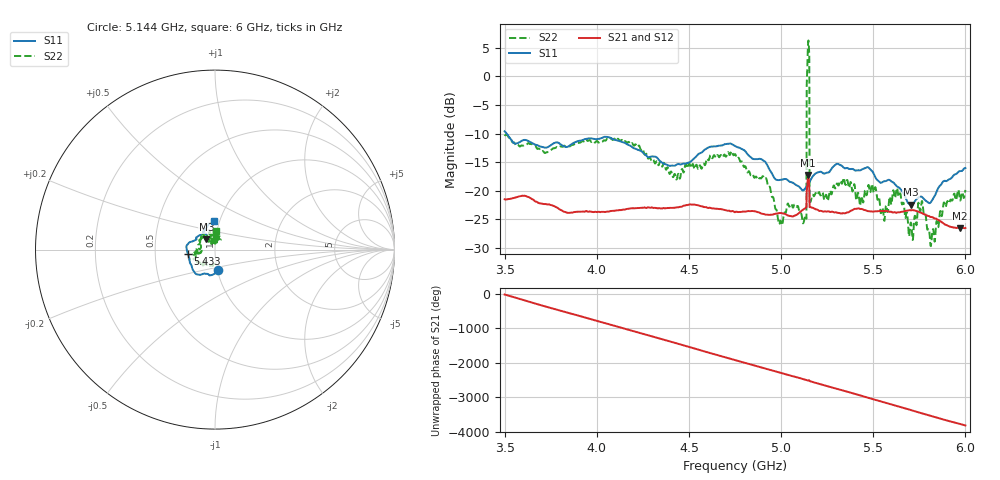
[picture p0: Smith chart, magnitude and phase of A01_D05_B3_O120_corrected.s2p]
! Created with skrf 1.9.0 (http://scikit-rf.org).
# Hz S RI R 50.0
!freq ReS11 ImS11 ReS21 ImS21 ReS12 ImS12 ReS22 ImS22
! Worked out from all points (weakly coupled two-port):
!   1601 points, 3.5 GHz to 6 GHz, reference 50 ohm
!   highest |S21| = -17.22 dB at 5.147 GHz (marker M1); lowest = -26.5 dB at 5.972 GHz (marker M2)
!   lowest |S11| = -22.4 dB at 5.705 GHz (marker M3), VSWR 1.16, Z = 45.1 + j5.3 ohm
!   |S11| at or under -10 dB: 3.511 GHz to end of sweep
!   |S22| runs from -29.7 to 6.3 dB; largest |S21 - S12| = 0.0013
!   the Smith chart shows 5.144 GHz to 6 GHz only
!   S11 on the Smith chart (normalised r, x): 5.144 GHz: 1.01, -0.23; 5.433 GHz: 0.74, -0.04; 6 GHz: 0.94, +0.30
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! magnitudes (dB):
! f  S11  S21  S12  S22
! 3.5 GHz  -9.6  -21.5  -21.5  -10.2
! 3.917 GHz  -11.2  -23.6  -23.6  -11.4
! 4.334 GHz  -14.5  -23.0  -23.0  -15.5
! 4.441 GHz  -15.3  -22.9  -22.9  -17.1
! 4.75 GHz  -12.2  -23.7  -23.7  -13.6
! 4.912 GHz  -14.9  -24.1  -24.1  -17.9
! 4.995 GHz  -18.1  -23.9  -23.8  -25.3
! 5.045 GHz  -18.4  -24.4  -24.4  -22.8
! 5.125 GHz  -19.8  -23.2  -23.2  -25.2
! 5.144 GHz  -19.0  -18.3  -18.2  3.4
! 5.147 GHz  -18.9  -17.2  -17.3  6.0
! 5.152 GHz  -18.6  -18.6  -18.6  4.9
! 5.167 GHz  -17.7  -22.9  -22.9  -21.0
! 5.331 GHz  -15.7  -24.0  -23.9  -18.7
! 5.433 GHz  -16.4  -23.2  -23.2  -21.6
! 5.584 GHz  -18.1  -23.6  -23.6  -22.1
! 5.638 GHz  -19.4  -23.8  -23.7  -21.0
! 5.705 GHz  -22.4  -23.4  -23.4  -25.6
! 5.756 GHz  -21.0  -23.8  -23.8  -23.6
! 5.822 GHz  -21.5  -24.6  -24.6  -27.0
! 5.972 GHz  -16.5  -26.5  -26.5  -21.7
! 6 GHz  -16.0  -26.5  -26.5  -19.9
